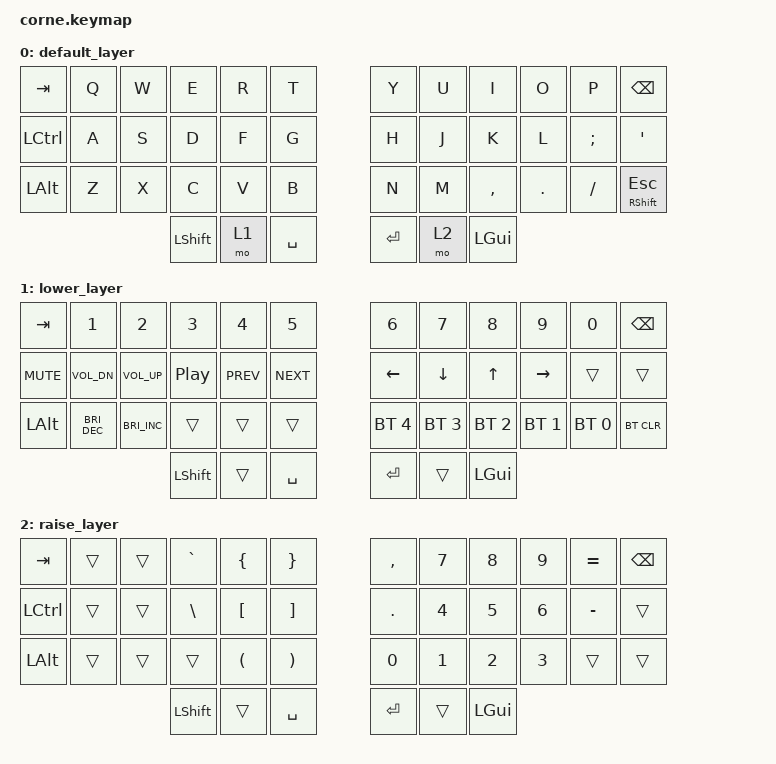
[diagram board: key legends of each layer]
/*
 * Copyright (c) 2020 The ZMK Contributors
 *
 * SPDX-License-Identifier: MIT
 */

#include <behaviors.dtsi>
#include <dt-bindings/zmk/bt.h>
#include <dt-bindings/zmk/keys.h>

&mt {
    tapping-term-ms = <300>;
    flavor = "tap-preferred";
};

/ {
    keymap {
        compatible = "zmk,keymap";

        default_layer {
            // -----------------------------------------------------------------------------------------
            // |  TAB |  Q  |  W  |  E  |  R  |  T  |      |  Y  |  U  |  I  |  O  |  P  | BKSP |
            // | CTRL |  A  |  S  |  D  |  F  |  G  |      |  H  |  J  |  K  |  L  |  ;  |  '   |
            // | SHFT |  Z  |  X  |  C  |  V  |  B  |      |  N  |  M  |  ,  |  .  |  /  | ESC  |
            //                        | GUI | LWR | SPC | ENT | RSE | ALT |

            bindings = <
&kp TAB    &kp Q  &kp W  &kp E           &kp R  &kp T        &kp Y    &kp U  &kp I      &kp O    &kp P          &kp BSPC
&kp LCTRL  &kp A  &kp S  &kp D           &kp F  &kp G        &kp H    &kp J  &kp K      &kp L    &kp SEMICOLON  &kp SQT
&kp LALT   &kp Z  &kp X  &kp C           &kp V  &kp B        &kp N    &kp M  &kp COMMA  &kp DOT  &kp FSLH       &mt RIGHT_SHIFT ESC
                         &kp LEFT_SHIFT  &mo 1  &kp SPACE    &kp RET  &mo 2  &kp LGUI
            >;
        };

        lower_layer {
            // -----------------------------------------------------------------------------------------
            // |  TAB  |  1   |  2   |  3   |  4   |  5   |      |  6   |  7   |  8   |  9   |  0   | BKSP  |
            // | MUTE  | VOLD | VOLU | PLAY | PREV | NEXT |      | LFT  | DWN  |  UP  | RGT  |      |       |
            // | SHFT  | BRDN | BRUP |      |      |      |      | BT4  | BT3  | BT2  | BT1  | BT0  | BTCLR |
            //                        | GUI  |      | SPC  | ENT  |      | ALT  |

            bindings = <
&kp TAB     &kp N1                &kp N2                &kp N3            &kp N4      &kp N5        &kp N6        &kp N7        &kp N8        &kp N9        &kp N0        &kp BSPC
&kp K_MUTE  &kp C_VOL_DN          &kp C_VOLUME_UP       &kp C_PLAY_PAUSE  &kp C_PREV  &kp C_NEXT    &kp LEFT      &kp DOWN      &kp UP        &kp RIGHT     &trans        &trans
&kp LALT    &kp C_BRIGHTNESS_DEC  &kp C_BRIGHTNESS_INC  &trans            &trans      &trans        &bt BT_SEL 4  &bt BT_SEL 3  &bt BT_SEL 2  &bt BT_SEL 1  &bt BT_SEL 0  &bt BT_CLR
                                                        &kp LEFT_SHIFT    &trans      &kp SPACE     &kp RET       &trans        &kp LGUI
            >;
        };

        raise_layer {
            // -----------------------------------------------------------------------------------------
            // |  TAB |  ~  |  `  |  {  |  [  |  ]  |      |  ,  |  7  |  8  |  9  |  =  | BKSP |
            // | CTRL |     |     |  \  |  (  |  )  |      |  .  |  4  |  5  |  6  |  -  |       |
            // | SHFT |     |     |     |  (  |  )  |      |  0  |  1  |  2  |  3  |     |       |
            //                        | GUI |     | SPC  | ENT |     | ALT |

            bindings = <
&kp TAB    &trans  &trans  &kp GRAVE  &kp LEFT_BRACE        &kp RIGHT_BRACE          &kp COMMA   &kp NUMBER_7  &kp N8        &kp NUMBER_9  &kp EQUAL  &kp BSPC
&kp LCTRL  &trans  &trans  &kp BSLH   &kp LEFT_BRACKET      &kp RIGHT_BRACKET        &kp PERIOD  &kp NUMBER_4  &kp NUMBER_5  &kp NUMBER_6  &kp MINUS  &trans
&kp LALT   &trans  &trans  &trans     &kp LEFT_PARENTHESIS  &kp RIGHT_PARENTHESIS    &kp N0      &kp NUMBER_1  &kp NUMBER_2  &kp NUMBER_3  &trans     &trans
                           &kp LSHFT  &trans                &kp SPACE                &kp RET     &trans        &kp LGUI
            >;
        };
    };
};
